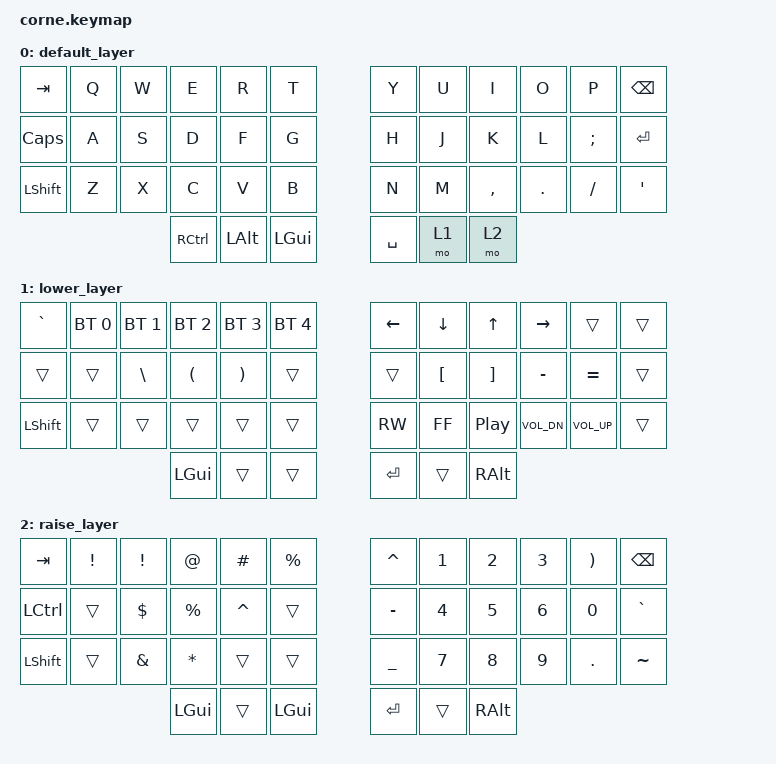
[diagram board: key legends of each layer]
/*
 * Copyright (c) 2020 The ZMK Contributors
 *
 * SPDX-License-Identifier: MIT
 */

#include <behaviors.dtsi>
#include <dt-bindings/zmk/keys.h>
#include <dt-bindings/zmk/bt.h>

/ {
        keymap {
                compatible = "zmk,keymap";

                default_layer {
                        bindings = <
   &kp TAB   &kp Q &kp W &kp E &kp R &kp T   &kp Y &kp U  &kp I     &kp O   &kp P    &kp BSPC
   &kp CAPS &kp A &kp S &kp D &kp F &kp G   &kp H &kp J  &kp K     &kp L   &kp SEMI &kp ENTER
   &kp LSHFT &kp Z &kp X &kp C &kp V &kp B   &kp N &kp M  &kp COMMA &kp DOT &kp FSLH &kp APOS
                  &kp RCTRL &kp LALT &kp LGUI   &kp SPC &mo 1 &mo 2
                        >;
                };
                lower_layer {
// -----------------------------------------------------------------------------------------
// |  TAB |  1  |  2  |  3  |  4  |  5  |   |  6  |  7  |  8  |  9  |  0  | BKSP |
// | BTCLR| BT1 | BT2 | BT3 | BT4 | BT5 |   | LFT | DWN |  UP | RGT |     |      |
// | SHFT |     |     |     |     |     |   |     |     |     |     |     |      |
//                    | GUI |     | SPC |   | ENT |     | ALT |
                        bindings = <
   &kp GRAVE &bt BT_SEL 0 &bt BT_SEL 1 &bt BT_SEL 2 &bt BT_SEL 3 &bt BT_SEL 4   &kp LEFT &kp DOWN &kp UP &kp RIGHT &trans &trans
   &trans &trans &kp BACKSLASH &kp LPAR &kp RPAR &trans              &trans &kp LBKT &kp RBKT &kp MINUS &kp EQUAL &trans
   &kp LSHFT  &trans       &trans       &trans       &trans       &trans         &kp C_RW   &kp C_FF   &kp C_PP &kp C_VOL_DN    &kp C_VOL_UP &trans
                          	        &kp LGUI     &trans       &trans      &kp RET  &trans   &kp RALT
                        >;
                };

                raise_layer {
// -----------------------------------------------------------------------------------------
// |  TAB |  !  |  @  |  #  |  $  |  %  |   |  ^  |  &  |  *  |  (  |  )  | BKSP |
// | CTRL |     |     |     |     |     |   |  -  |  =  |  [  |  ]  |  \  |  `   |
// | SHFT |     |     |     |     |     |   |  _  |  +  |  {  |  }  | "|" |  ~   |
//                    | GUI |     | SPC |   | ENT |     | ALT |
                        bindings = <
   &kp  TAB  &kp EXCL &kp EXCL &kp AT &kp HASH &kp PRCNT   &kp CARET &kp N1  &kp N2        &kp N3 &kp RPAR  &kp BSPC
   &kp LCTRL &trans   &kp DOLLAR &kp PERCENT   &kp CARET   &trans      &kp MINUS &kp N4  &kp N5        &kp N6 &kp N0     &kp GRAVE
   &kp LSHFT &trans   &kp AMPS &kp ASTERISK   &trans   &trans      &kp UNDER &kp N7  &kp N8        &kp N9 &kp DOT   &kp TILDE
                    	     &kp LGUI &trans   &kp LGUI   &kp RET   &trans  &kp RALT
                        >;
                };
        };
};
